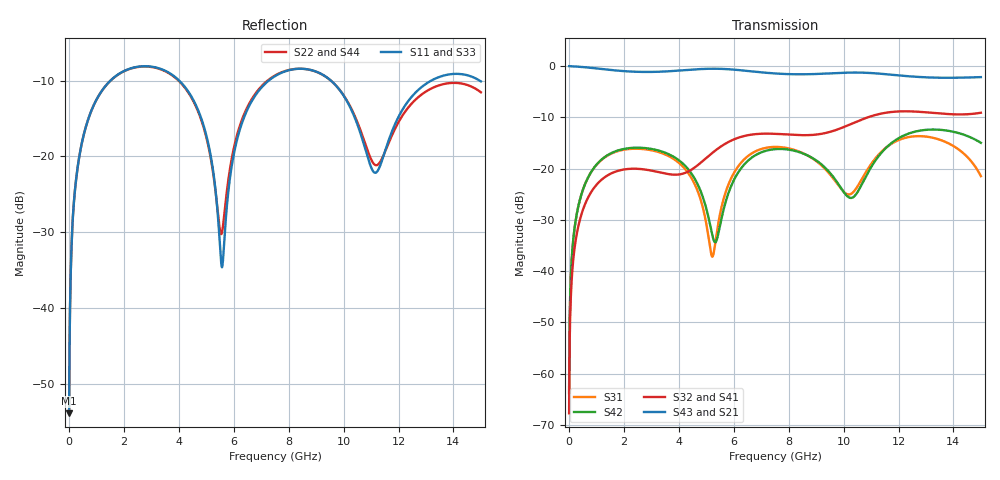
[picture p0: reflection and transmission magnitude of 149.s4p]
! Created with skrf 1.8.0 (http://scikit-rf.org).
# GHz S RI R 50.0
!freq ReS11 ImS11 ReS12 ImS12 ReS13 ImS13
! ReS14 ImS14
! ReS21 ImS21 ReS22 ImS22 ReS23 ImS23
! ReS24 ImS24
! ReS31 ImS31 ReS32 ImS32 ReS33 ImS33
! ReS34 ImS34
! ReS41 ImS41 ReS42 ImS42 ReS43 ImS43
! ReS44 ImS44
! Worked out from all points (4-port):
!   2499 points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, 5 MHz to 15 GHz, reference 50 ohm
!   strongest paths, dB at 5 MHz, 3.476 GHz, 7.19 GHz, 11.1 GHz, 15 GHz:
!     S43: 0.0, -1.1, -1.3, -1.4, -2.2
!     S21: 0.0, -1.1, -1.3, -1.4, -2.1
!     S32: -67.8, -20.9, -13.2, -9.6, -9.1
!     S41: -67.8, -21.0, -13.2, -9.6, -9.1
!     S42: -63.8, -16.8, -16.5, -18.9, -15.0
!     S31: -63.8, -17.2, -15.9, -18.4, -21.5
!   lowest |S11| = -53.9 dB at 5 MHz (marker M1), VSWR 1.00, Z = 50.2 + j0.123 ohm
!   |S11| at or under -10 dB: start of sweep to 1.508 GHz; 4.015 GHz to 7.271 GHz (3.257 GHz wide, 57.7 % of centre); 9.54 GHz to 13.19 GHz (3.649 GHz wide, 32.1 % of centre) (the widest 3 of 4)
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0.005  0.00161 0.00123  0.9984 -0.00314  8.09e-05 0.00064  -7.87e-05 -0.000401
       0.9984 -0.00314  0.00161 0.00123  -7.87e-05 -0.000401  8.11e-05 0.00064
       8.09e-05 0.00064  -7.87e-05 -0.000401  0.00161 0.00123  0.9984 -0.00314
       -7.87e-05 -0.000401  8.11e-05 0.00064  0.9984 -0.00314  0.00161 0.00123
0.3126303  0.0235 0.0809  0.968 -0.1957  0.0105 0.0381  -0.00891 -0.0236
           0.968 -0.1957  0.0234 0.0809  -0.00892 -0.0236  0.0109 0.038
           0.0105 0.0381  -0.00892 -0.0236  0.0235 0.0809  0.968 -0.1957
           -0.00891 -0.0236  0.0109 0.038  0.968 -0.1957  0.0234 0.0809
1.569404  0.2701 0.1786  0.5519 -0.7283  0.1251 0.0654  -0.0901 -0.00666
          0.5519 -0.7283  0.2682 0.1799  -0.0903 -0.00649  0.1302 0.0584
          0.1251 0.0654  -0.0903 -0.00649  0.27 0.1786  0.5519 -0.7283
          -0.0901 -0.00666  0.1302 0.0584  0.5519 -0.7283  0.2683 0.1798
5.571071  0.0186 -0.00067  -0.9375 -0.0559  0.023 0.0374  -0.00676 0.1666
          -0.9375 -0.0559  0.031 0.00598  -0.00345 0.1667  -0.00985 0.0326
          0.023 0.0374  -0.00345 0.1667  0.0197 0.000646  -0.9375 -0.0558
          -0.00676 0.1666  -0.00985 0.0326  -0.9375 -0.0558  0.0295 0.00738
8.6411  0.3752 -0.0325  0.0183 0.8326  0.1035 -0.0886  0.2041 -0.0513
        0.0183 0.8326  0.3748 -0.0344  0.2037 -0.0578  0.1025 -0.0896
        0.1035 -0.0886  0.2037 -0.0578  0.3749 -0.0326  0.0172 0.8324
        0.2041 -0.0513  0.1025 -0.0896  0.0172 0.8324  0.3761 -0.0333
11.38599  0.0869 0.032  0.8406 0.00545  0.0109 0.1463  -0.006 -0.3442
          0.8406 0.00545  0.0938 0.0198  -0.0177 -0.3442  0.0358 0.1391
          0.0109 0.1463  -0.0177 -0.3442  0.0855 0.0308  0.8406 0.00745
          -0.006 -0.3442  0.0358 0.1391  0.8406 0.00745  0.0955 0.0227
15  0.2826 -0.1334  -0.2551 -0.738  0.0456 -0.0709  -0.3215 0.1359
    -0.2551 -0.738  0.2522 -0.0816  -0.3146 0.1548  0.0232 -0.177
    0.0456 -0.0709  -0.3146 0.1548  0.2842 -0.1281  -0.2504 -0.7395
    -0.3215 0.1359  0.0232 -0.177  -0.2504 -0.7395  0.2535 -0.0871
